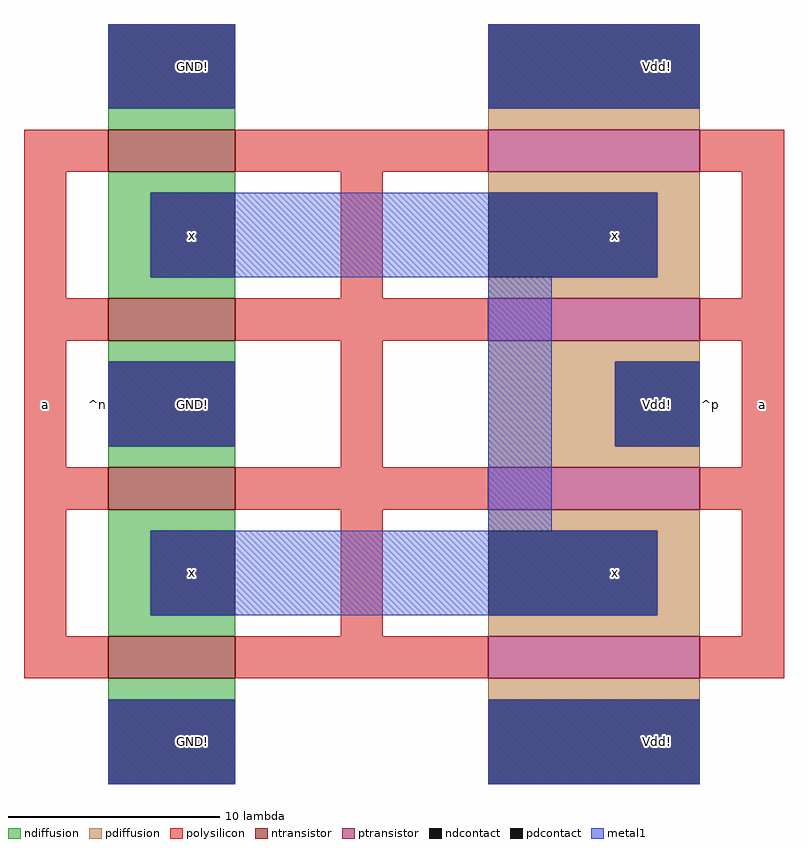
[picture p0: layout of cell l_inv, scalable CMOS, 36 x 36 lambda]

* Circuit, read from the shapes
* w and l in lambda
.subckt l_inv GND! Vdd! a x
M1 x a GND! VSUBS nfet w=6 l=2 m=4
M2 x a Vdd! NWELL pfet w=10 l=2 m=4
.ends

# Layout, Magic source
magic
tech scmos
<< ndiffusion >>
rect 414 470 420 471
rect 414 467 420 468
rect 414 463 416 467
rect 414 462 420 463
rect 414 459 420 460
rect 414 454 420 455
rect 414 451 420 452
rect 414 447 416 451
rect 414 446 420 447
rect 414 443 420 444
<< pdiffusion >>
rect 432 470 442 471
rect 432 467 442 468
rect 440 463 442 467
rect 432 462 442 463
rect 432 459 442 460
rect 432 455 438 459
rect 432 454 442 455
rect 432 451 442 452
rect 440 447 442 451
rect 432 446 442 447
rect 432 443 442 444
<< ntransistor >>
rect 414 468 420 470
rect 414 460 420 462
rect 414 452 420 454
rect 414 444 420 446
<< ptransistor >>
rect 432 468 442 470
rect 432 460 442 462
rect 432 452 442 454
rect 432 444 442 446
<< polysilicon >>
rect 410 468 414 470
rect 420 468 432 470
rect 442 468 446 470
rect 410 462 412 468
rect 425 462 427 468
rect 444 462 446 468
rect 410 460 414 462
rect 420 460 432 462
rect 442 460 446 462
rect 410 454 412 460
rect 425 454 427 460
rect 444 454 446 460
rect 410 452 414 454
rect 420 452 432 454
rect 442 452 446 454
rect 410 446 412 452
rect 425 446 427 452
rect 444 446 446 452
rect 410 444 414 446
rect 420 444 432 446
rect 442 444 446 446
<< ndcontact >>
rect 414 471 420 475
rect 416 463 420 467
rect 414 455 420 459
rect 416 447 420 451
rect 414 439 420 443
<< pdcontact >>
rect 432 471 442 475
rect 432 463 440 467
rect 438 455 442 459
rect 432 447 440 451
rect 432 439 442 443
<< metal1 >>
rect 414 471 420 475
rect 432 471 442 475
rect 416 463 440 467
rect 414 455 420 459
rect 432 451 435 463
rect 438 455 442 459
rect 416 447 440 451
rect 414 439 420 443
rect 432 439 442 443
<< labels >>
rlabel space 410 438 417 476 7 ^n
rlabel space 439 438 446 476 3 ^p
rlabel polysilicon 411 457 411 457 3 a
rlabel polysilicon 445 457 445 457 7 a
rlabel ndcontact 418 449 418 449 1 x
rlabel ndcontact 418 465 418 465 1 x
rlabel ndcontact 418 441 418 441 1 GND!
rlabel ndcontact 418 457 418 457 5 GND!
rlabel ndcontact 418 473 418 473 5 GND!
rlabel pdcontact 438 465 438 465 1 x
rlabel pdcontact 438 449 438 449 1 x
rlabel pdcontact 440 457 440 457 5 Vdd!
rlabel pdcontact 440 441 440 441 1 Vdd!
rlabel pdcontact 440 473 440 473 5 Vdd!
<< end >>
